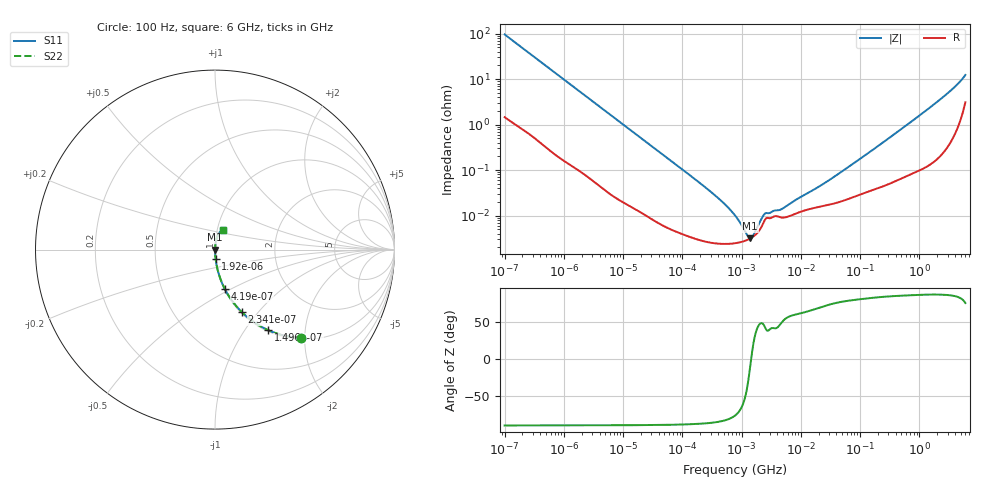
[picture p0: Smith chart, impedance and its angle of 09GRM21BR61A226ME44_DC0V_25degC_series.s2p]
!Murata Part Number: GRM21BR61A226ME44
!These Parameters are Measured in Series Mode Connection
!  o--ll--o
!Port1  Port2
!  o------o
!Operation Temp=25[degC], DC Bias Voltage=0[V]
!Freq. Start=100[Hz] Stop=6[GHz], 401[Steps]
!Data Generated on Jan 8, 2019
# Hz S RI R 50
!Freq.(Hz) S11(Real) S11(Imag) S21(Real) S21(Imag) S12(Real) S12(Imag) S22(Real) S22(Imag)
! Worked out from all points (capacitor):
!   401 points, 100 Hz to 6 GHz, reference 50 ohm
!   read as one part in series: C = 16.5 uF near 109.4 Hz
!   lowest |Z| = 3.18 mohm at 1.386 MHz (marker M1)
!   series resonance near 1.45 MHz, so ESL is about 730 pH
!   S11 on the Smith chart (normalised r, x): 100 Hz: 1.03, -1.92; 149.6 Hz: 1.02, -1.29; 234.1 Hz: 1.01, -0.83; 419 Hz: 1.01, -0.47; 1.92 kHz: 1.00, -0.10; 6 GHz: 1.06, +0.24
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100  0.4797 -0.4921  0.5203 0.4921  0.5203 0.4921  0.4797 -0.4921
149.6265  0.2959 -0.4486  0.7041 0.4486  0.7041 0.4486  0.2959 -0.4486
234.1328  0.15 -0.3489  0.85 0.3489  0.85 0.3489  0.15 -0.3489
419.0367  0.0545 -0.219  0.9455 0.219  0.9455 0.219  0.0545 -0.219
857.7844  0.0147 -0.1125  0.9853 0.1125  0.9853 0.1125  0.0147 -0.1125
1920.414  0.00355 -0.0513  0.9964 0.0513  0.9964 0.0513  0.00355 -0.0513
2008.354  0.00329 -0.0491  0.9967 0.0491  0.9967 0.0491  0.00329 -0.0491
6433.098  0.000521 -0.0156  0.9995 0.0156  0.9995 0.0156  0.000521 -0.0156
40334.87  7.33e-05 -0.00254  0.9999 0.00254  0.9999 0.00254  7.33e-05 -0.00254
302498.1  2.53e-05 -0.000332  1 0.000332  1 0.000332  2.53e-05 -0.000332
495019  2.38e-05 -0.000188  1 0.000188  1 0.000188  2.38e-05 -0.000188
774596.7  2.46e-05 -9.76e-05  1 9.76e-05  1 9.76e-05  2.46e-05 -9.76e-05
847161.8  2.5e-05 -8.24e-05  1 8.24e-05  1 8.24e-05  2.5e-05 -8.24e-05
1386327  3.11e-05 -6.64e-06  1 6.64e-06  1 6.64e-06  3.11e-05 -6.64e-06
2169299  5.63e-05 6.37e-05  0.9999 -6.37e-05  0.9999 -6.37e-05  5.63e-05 6.37e-05
4643984  9.07e-05 0.000102  0.9999 -0.000102  0.9999 -0.000102  9.07e-05 0.000102
1.555665e7  0.000143 0.000323  0.9999 -0.000323  0.9999 -0.000323  0.000143 0.000323
3.983537e7  0.00019 0.000744  0.9998 -0.000744  0.9998 -0.000744  0.00019 0.000744
3.124326e8  0.000524 0.00509  0.9995 -0.00509  0.9995 -0.00509  0.000524 0.00509
2.34314e9  0.0035 0.037  0.9965 -0.037  0.9965 -0.037  0.0035 0.037
3.8344e9  0.00958 0.0634  0.9904 -0.0634  0.9904 -0.0634  0.00958 0.0634
6e9  0.043 0.1112  0.957 -0.1112  0.957 -0.1112  0.043 0.1112
